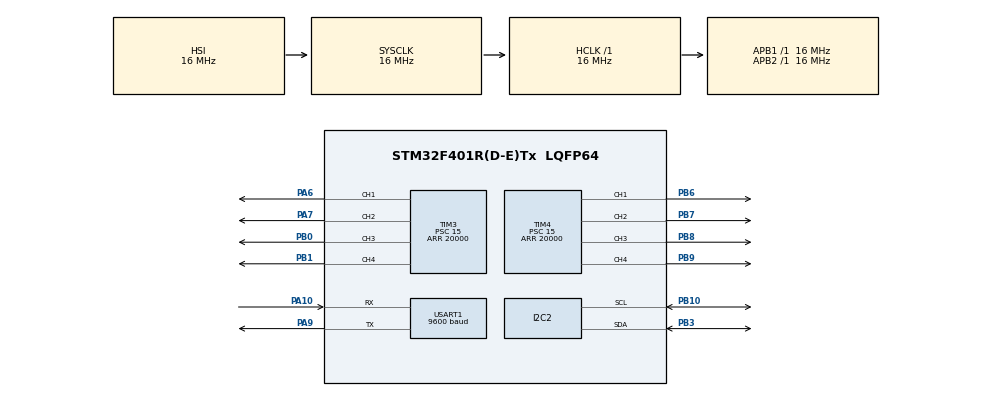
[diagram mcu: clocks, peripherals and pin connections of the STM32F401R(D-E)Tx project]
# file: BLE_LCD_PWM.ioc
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Mcu.Family=STM32F4
Mcu.Name=STM32F401R(D-E)Tx
Mcu.Package=LQFP64
NVIC.I2C2_ER_IRQn=true\:1\:0\:true\:true\:true\:2
NVIC.I2C2_EV_IRQn=true\:1\:0\:true\:true\:true\:1
NVIC.PriorityGroup=NVIC_PRIORITYGROUP_4
NVIC.USART1_IRQn=true\:2\:0\:true\:true\:true\:3
PA10.Mode=Asynchronous
PA10.Signal=USART1_RX
PA6.GPIO_ModeDefaultPP=GPIO_MODE_AF_PP
PA6.GPIO_PuPd=GPIO_PULLDOWN
PA6.Signal=S_TIM3_CH1
PA7.GPIO_ModeDefaultPP=GPIO_MODE_AF_PP
PA7.GPIO_PuPd=GPIO_PULLDOWN
PA7.Signal=S_TIM3_CH2
PA9.Mode=Asynchronous
PA9.Signal=USART1_TX
PB0.GPIO_ModeDefaultPP=GPIO_MODE_AF_PP
PB0.GPIO_PuPd=GPIO_PULLDOWN
PB0.Signal=S_TIM3_CH3
PB1.GPIO_ModeDefaultPP=GPIO_MODE_AF_PP
PB1.GPIO_PuPd=GPIO_PULLDOWN
PB1.GPIO_Speed=GPIO_SPEED_FREQ_LOW
PB1.Signal=S_TIM3_CH4
PB10.Mode=I2C
PB10.Signal=I2C2_SCL
PB3.Mode=I2C
PB3.Signal=I2C2_SDA
PB6.Signal=S_TIM4_CH1
PB7.Signal=S_TIM4_CH2
PB8.Signal=S_TIM4_CH3
PB9.Signal=S_TIM4_CH4
ProjectManager.HeapSize=0x200
ProjectManager.StackSize=0x400
ProjectManager.TargetToolchain=SW4STM32
RCC.AHBFreq_Value=16000000
RCC.APB1Freq_Value=16000000
RCC.APB2Freq_Value=16000000
RCC.CortexFreq_Value=16000000
RCC.HSE_VALUE=25000000
RCC.HSI_VALUE=16000000
RCC.LSE_VALUE=32768
RCC.SYSCLKFreq_VALUE=16000000
RCC.VCOOutputFreq_Value=192000000
SH.S_TIM3_CH1.0=TIM3_CH1,PWM Generation1 CH1
SH.S_TIM3_CH2.0=TIM3_CH2,PWM Generation2 CH2
SH.S_TIM3_CH3.0=TIM3_CH3,PWM Generation3 CH3
SH.S_TIM3_CH4.0=TIM3_CH4,PWM Generation4 CH4
SH.S_TIM4_CH1.0=TIM4_CH1,PWM Generation1 CH1
SH.S_TIM4_CH2.0=TIM4_CH2,PWM Generation2 CH2
SH.S_TIM4_CH3.0=TIM4_CH3,PWM Generation3 CH3
SH.S_TIM4_CH4.0=TIM4_CH4,PWM Generation4 CH4
TIM3.Channel-PWM\ Generation1\ CH1=TIM_CHANNEL_1
TIM3.Channel-PWM\ Generation2\ CH2=TIM_CHANNEL_2
TIM3.Channel-PWM\ Generation3\ CH3=TIM_CHANNEL_3
TIM3.Channel-PWM\ Generation4\ CH4=TIM_CHANNEL_4
TIM3.OCFastMode_PWM-PWM\ Generation4\ CH4=TIM_OCFAST_DISABLE
TIM3.Period=20000
TIM3.Prescaler=15
TIM3.Pulse-PWM\ Generation1\ CH1=0
TIM3.Pulse-PWM\ Generation2\ CH2=0
TIM3.Pulse-PWM\ Generation3\ CH3=0
TIM3.Pulse-PWM\ Generation4\ CH4=0
TIM4.Channel-PWM\ Generation1\ CH1=TIM_CHANNEL_1
TIM4.Channel-PWM\ Generation2\ CH2=TIM_CHANNEL_2
TIM4.Channel-PWM\ Generation3\ CH3=TIM_CHANNEL_3
TIM4.Channel-PWM\ Generation4\ CH4=TIM_CHANNEL_4
TIM4.Period=20000
TIM4.Prescaler=15
USART1.BaudRate=9600
USART1.VirtualMode=VM_ASYNC
VP_TIM3_VS_ClockSourceINT.Mode=Internal
VP_TIM4_VS_ClockSourceINT.Mode=Internal
board=BLE_LCD_PWM

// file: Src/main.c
/**
  ******************************************************************************
  * File Name          : main.c
  * Description        : Main program body
  ******************************************************************************
  ** This notice applies to any and all portions of this file
  * that are not between comment pairs USER CODE BEGIN and
  * USER CODE END. Other portions of this file, whether
  * inserted by the user or by software development tools
  * are owned by their respective copyright owners.
  *
  * COPYRIGHT(c) 2017 STMicroelectronics
  *
  * Redistribution and use in source and binary forms, with or without modification,
  * are permitted provided that the following conditions are met:
  *   1. Redistributions of source code must retain the above copyright notice,
  *      this list of conditions and the following disclaimer.
  *   2. Redistributions in binary form must reproduce the above copyright notice,
  *      this list of conditions and the following disclaimer in the documentation
  *      and/or other materials provided with the distribution.
  *   3. Neither the name of STMicroelectronics nor the names of its contributors
  *      may be used to endorse or promote products derived from this software
  *      without specific prior written permission.
  *
  * THIS SOFTWARE IS PROVIDED BY THE COPYRIGHT HOLDERS AND CONTRIBUTORS "AS IS"
  * AND ANY EXPRESS OR IMPLIED WARRANTIES, INCLUDING, BUT NOT LIMITED TO, THE
  * IMPLIED WARRANTIES OF MERCHANTABILITY AND FITNESS FOR A PARTICULAR PURPOSE ARE
  * DISCLAIMED. IN NO EVENT SHALL THE COPYRIGHT HOLDER OR CONTRIBUTORS BE LIABLE
  * FOR ANY DIRECT, INDIRECT, INCIDENTAL, SPECIAL, EXEMPLARY, OR CONSEQUENTIAL
  * DAMAGES (INCLUDING, BUT NOT LIMITED TO, PROCUREMENT OF SUBSTITUTE GOODS OR
  * SERVICES; LOSS OF USE, DATA, OR PROFITS; OR BUSINESS INTERRUPTION) HOWEVER
  * CAUSED AND ON ANY THEORY OF LIABILITY, WHETHER IN CONTRACT, STRICT LIABILITY,
  * OR TORT (INCLUDING NEGLIGENCE OR OTHERWISE) ARISING IN ANY WAY OUT OF THE USE
  * OF THIS SOFTWARE, EVEN IF ADVISED OF THE POSSIBILITY OF SUCH DAMAGE.
  *
  ******************************************************************************
  */
#include "main.h"
#include "stm32f4xx_hal.h"

/* USER CODE BEGIN Includes */
#include "lcd.h"
/* USER CODE END Includes */

I2C_HandleTypeDef hi2c2;

TIM_HandleTypeDef htim3;
TIM_HandleTypeDef htim4;

UART_HandleTypeDef huart1;

/* USER CODE BEGIN PV */
/* Private variables ---------------------------------------------------------*/

// Used to process commands from BLE Commands via UART

int rx_state = RX_CMD;
int rx_write_index = 0;
int rx_read_index = 0;
int rx_cmd_index = 0;
int rx_length = 0;
int rx_analog_enable = FALSE;
int rx_analog_enable_index = -1;
uint8_t rx_byte;
uint8_t rx_cmd;
uint8_t rx_cmd_buffer[RX_CMD_BUFFER_SIZE];
uint8_t tx_cmd_buffer[TX_CMD_BUFFER_SIZE];
uint8_t rx_buffer[RX_BUFFER_SIZE];

char lcd_line1[LCD_LINE_LENGTH];
char lcd_line2[LCD_LINE_LENGTH];

// Pulse Width for PWM
int analog_out_enabled[8] = {FALSE, FALSE, FALSE, FALSE, FALSE, FALSE, FALSE, FALSE};
uint16_t pulsewidth[8] = {0, 0, 0, 0, 0, 0, 0, 0};
int update_motors = TRUE;

/* USER CODE END PV */

void SystemClock_Config(void);
static void MX_GPIO_Init(void);
static void MX_I2C2_Init(void);
static void MX_USART1_UART_Init(void);
static void MX_TIM3_Init(void);
static void MX_TIM4_Init(void);
static void MX_NVIC_Init(void);

void HAL_TIM_MspPostInit(TIM_HandleTypeDef *htim);

/* USER CODE BEGIN PFP */
/* Private function prototypes -----------------------------------------------*/

void initDevice(void);
int parseCmd(void);
void processCmd(void);
void runCmd(void);
void addToCircularRxBuffer(uint8_t);

/* USER CODE END PFP */

int main(void)
{

  /* USER CODE BEGIN 1 */
	lcd_line1[0] = '\0';
	lcd_line2[0] = '\0';
  /* USER CODE END 1 */

  /* MCU Configuration----------------------------------------------------------*/

  /* Reset of all peripherals, Initializes the Flash interface and the Systick. */
  HAL_Init();

  /* USER CODE BEGIN Init */

  initDevice();

  /* USER CODE END Init */

  /* Configure the system clock */
  SystemClock_Config();

  /* Initialize all configured peripherals */
  MX_GPIO_Init();
  MX_I2C2_Init();
  MX_USART1_UART_Init();
  MX_TIM3_Init();
  MX_TIM4_Init();

  /* Initialize interrupts */
  MX_NVIC_Init();

  /* USER CODE BEGIN 2 */

  // LCD
  initLCD(&hi2c2);
  lcd_clear(&hi2c2);

  // UART
  while(huart1.gState == HAL_UART_STATE_BUSY_RX || huart1.gState == HAL_UART_STATE_BUSY_TX)
	  ;
  HAL_UART_Receive_IT(&huart1, &rx_byte, 1);

  // PWM Timers
  HAL_TIM_Base_Start(&htim3);
  HAL_TIM_Base_Start(&htim4);

  /* USER CODE END 2 */

  /* Infinite loop */
  while (1)
  {

  /* USER CODE BEGIN 3 */
	  while(!parseCmd())
		  ;
	  processCmd();
	  runCmd();

  }
  /* USER CODE END 3 */

}

/** System Clock Configuration
*/
void SystemClock_Config(void)
{

  RCC_OscInitTypeDef RCC_OscInitStruct;
  RCC_ClkInitTypeDef RCC_ClkInitStruct;

    /**Configure the main internal regulator output voltage
    */
  __HAL_RCC_PWR_CLK_ENABLE();

  __HAL_PWR_VOLTAGESCALING_CONFIG(PWR_REGULATOR_VOLTAGE_SCALE2);

    /**Initializes the CPU, AHB and APB busses clocks
    */
  RCC_OscInitStruct.OscillatorType = RCC_OSCILLATORTYPE_HSI;
  RCC_OscInitStruct.HSIState = RCC_HSI_ON;
  RCC_OscInitStruct.HSICalibrationValue = 16;
  RCC_OscInitStruct.PLL.PLLState = RCC_PLL_NONE;
  if (HAL_RCC_OscConfig(&RCC_OscInitStruct) != HAL_OK)
  {
    _Error_Handler(__FILE__, __LINE__);
  }

    /**Initializes the CPU, AHB and APB busses clocks
    */
  RCC_ClkInitStruct.ClockType = RCC_CLOCKTYPE_HCLK|RCC_CLOCKTYPE_SYSCLK
                              |RCC_CLOCKTYPE_PCLK1|RCC_CLOCKTYPE_PCLK2;
  RCC_ClkInitStruct.SYSCLKSource = RCC_SYSCLKSOURCE_HSI;
  RCC_ClkInitStruct.AHBCLKDivider = RCC_SYSCLK_DIV1;
  RCC_ClkInitStruct.APB1CLKDivider = RCC_HCLK_DIV1;
  RCC_ClkInitStruct.APB2CLKDivider = RCC_HCLK_DIV1;

  if (HAL_RCC_ClockConfig(&RCC_ClkInitStruct, FLASH_LATENCY_0) != HAL_OK)
  {
    _Error_Handler(__FILE__, __LINE__);
  }

    /**Configure the Systick interrupt time
    */
  HAL_SYSTICK_Config(HAL_RCC_GetHCLKFreq()/1000);

    /**Configure the Systick
    */
  HAL_SYSTICK_CLKSourceConfig(SYSTICK_CLKSOURCE_HCLK);

  /* SysTick_IRQn interrupt configuration */
  HAL_NVIC_SetPriority(SysTick_IRQn, 0, 0);
}

/** NVIC Configuration
*/
static void MX_NVIC_Init(void)
{
  /* I2C2_EV_IRQn interrupt configuration */
  HAL_NVIC_SetPriority(I2C2_EV_IRQn, 1, 0);
  HAL_NVIC_EnableIRQ(I2C2_EV_IRQn);
  /* I2C2_ER_IRQn interrupt configuration */
  HAL_NVIC_SetPriority(I2C2_ER_IRQn, 1, 0);
  HAL_NVIC_EnableIRQ(I2C2_ER_IRQn);
  /* USART1_IRQn interrupt configuration */
  HAL_NVIC_SetPriority(USART1_IRQn, 2, 0);
  HAL_NVIC_EnableIRQ(USART1_IRQn);
}

/* I2C2 init function */
static void MX_I2C2_Init(void)
{

  hi2c2.Instance = I2C2;
  hi2c2.Init.ClockSpeed = 100000;
  hi2c2.Init.DutyCycle = I2C_DUTYCYCLE_2;
  hi2c2.Init.OwnAddress1 = 0;
  hi2c2.Init.AddressingMode = I2C_ADDRESSINGMODE_7BIT;
  hi2c2.Init.DualAddressMode = I2C_DUALADDRESS_DISABLE;
  hi2c2.Init.OwnAddress2 = 0;
  hi2c2.Init.GeneralCallMode = I2C_GENERALCALL_DISABLE;
  hi2c2.Init.NoStretchMode = I2C_NOSTRETCH_DISABLE;
  if (HAL_I2C_Init(&hi2c2) != HAL_OK)
  {
    _Error_Handler(__FILE__, __LINE__);
  }

}

/* TIM3 init function */
static void MX_TIM3_Init(void)
{

  TIM_ClockConfigTypeDef sClockSourceConfig;
  TIM_MasterConfigTypeDef sMasterConfig;
  TIM_OC_InitTypeDef sConfigOC;

  htim3.Instance = TIM3;
  htim3.Init.Prescaler = 15;
  htim3.Init.CounterMode = TIM_COUNTERMODE_UP;
  htim3.Init.Period = 20000;
  htim3.Init.ClockDivision = TIM_CLOCKDIVISION_DIV1;
  if (HAL_TIM_Base_Init(&htim3) != HAL_OK)
  {
    _Error_Handler(__FILE__, __LINE__);
  }

  sClockSourceConfig.ClockSource = TIM_CLOCKSOURCE_INTERNAL;
  if (HAL_TIM_ConfigClockSource(&htim3, &sClockSourceConfig) != HAL_OK)
  {
    _Error_Handler(__FILE__, __LINE__);
  }

  if (HAL_TIM_PWM_Init(&htim3) != HAL_OK)
  {
    _Error_Handler(__FILE__, __LINE__);
  }

  sMasterConfig.MasterOutputTrigger = TIM_TRGO_RESET;
  sMasterConfig.MasterSlaveMode = TIM_MASTERSLAVEMODE_DISABLE;
  if (HAL_TIMEx_MasterConfigSynchronization(&htim3, &sMasterConfig) != HAL_OK)
  {
    _Error_Handler(__FILE__, __LINE__);
  }

  sConfigOC.OCMode = TIM_OCMODE_PWM1;
  sConfigOC.Pulse = 0;
  sConfigOC.OCPolarity = TIM_OCPOLARITY_HIGH;
  sConfigOC.OCFastMode = TIM_OCFAST_DISABLE;
  if (HAL_TIM_PWM_ConfigChannel(&htim3, &sConfigOC, TIM_CHANNEL_1) != HAL_OK)
  {
    _Error_Handler(__FILE__, __LINE__);
  }

  if (HAL_TIM_PWM_ConfigChannel(&htim3, &sConfigOC, TIM_CHANNEL_2) != HAL_OK)
  {
    _Error_Handler(__FILE__, __LINE__);
  }

  if (HAL_TIM_PWM_ConfigChannel(&htim3, &sConfigOC, TIM_CHANNEL_3) != HAL_OK)
  {
    _Error_Handler(__FILE__, __LINE__);
  }

  if (HAL_TIM_PWM_ConfigChannel(&htim3, &sConfigOC, TIM_CHANNEL_4) != HAL_OK)
  {
    _Error_Handler(__FILE__, __LINE__);
  }

  HAL_TIM_MspPostInit(&htim3);

}

/* TIM4 init function */
static void MX_TIM4_Init(void)
{

  TIM_ClockConfigTypeDef sClockSourceConfig;
  TIM_MasterConfigTypeDef sMasterConfig;
  TIM_OC_InitTypeDef sConfigOC;

  htim4.Instance = TIM4;
  htim4.Init.Prescaler = 15;
  htim4.Init.CounterMode = TIM_COUNTERMODE_UP;
  htim4.Init.Period = 20000;
  htim4.Init.ClockDivision = TIM_CLOCKDIVISION_DIV1;
  if (HAL_TIM_Base_Init(&htim4) != HAL_OK)
  {
    _Error_Handler(__FILE__, __LINE__);
  }

  sClockSourceConfig.ClockSource = TIM_CLOCKSOURCE_INTERNAL;
  if (HAL_TIM_ConfigClockSource(&htim4, &sClockSourceConfig) != HAL_OK)
  {
    _Error_Handler(__FILE__, __LINE__);
  }

  if (HAL_TIM_PWM_Init(&htim4) != HAL_OK)
  {
    _Error_Handler(__FILE__, __LINE__);
  }

  sMasterConfig.MasterOutputTrigger = TIM_TRGO_RESET;
  sMasterConfig.MasterSlaveMode = TIM_MASTERSLAVEMODE_DISABLE;
  if (HAL_TIMEx_MasterConfigSynchronization(&htim4, &sMasterConfig) != HAL_OK)
  {
    _Error_Handler(__FILE__, __LINE__);
  }

  sConfigOC.OCMode = TIM_OCMODE_PWM1;
  sConfigOC.Pulse = 0;
  sConfigOC.OCPolarity = TIM_OCPOLARITY_HIGH;
  sConfigOC.OCFastMode = TIM_OCFAST_DISABLE;
  if (HAL_TIM_PWM_ConfigChannel(&htim4, &sConfigOC, TIM_CHANNEL_1) != HAL_OK)
  {
    _Error_Handler(__FILE__, __LINE__);
  }

  if (HAL_TIM_PWM_ConfigChannel(&htim4, &sConfigOC, TIM_CHANNEL_2) != HAL_OK)
  {
    _Error_Handler(__FILE__, __LINE__);
  }

  if (HAL_TIM_PWM_ConfigChannel(&htim4, &sConfigOC, TIM_CHANNEL_3) != HAL_OK)
  {
    _Error_Handler(__FILE__, __LINE__);
  }

  if (HAL_TIM_PWM_ConfigChannel(&htim4, &sConfigOC, TIM_CHANNEL_4) != HAL_OK)
  {
    _Error_Handler(__FILE__, __LINE__);
  }

  HAL_TIM_MspPostInit(&htim4);

}

/* USART1 init function */
static void MX_USART1_UART_Init(void)
{

  huart1.Instance = USART1;
  huart1.Init.BaudRate = 9600;
  huart1.Init.WordLength = UART_WORDLENGTH_8B;
  huart1.Init.StopBits = UART_STOPBITS_1;
  huart1.Init.Parity = UART_PARITY_NONE;
  huart1.Init.Mode = UART_MODE_TX_RX;
  huart1.Init.HwFlowCtl = UART_HWCONTROL_NONE;
  huart1.Init.OverSampling = UART_OVERSAMPLING_16;
  if (HAL_UART_Init(&huart1) != HAL_OK)
  {
    _Error_Handler(__FILE__, __LINE__);
  }

}

/** Pinout Configuration
*/
static void MX_GPIO_Init(void)
{

  /* GPIO Ports Clock Enable */
  __HAL_RCC_GPIOA_CLK_ENABLE();
  __HAL_RCC_GPIOB_CLK_ENABLE();

}

/* USER CODE BEGIN 4 */

void initDevice() {
  rx_state = RX_CMD;
  rx_write_index = 0;
  rx_read_index = 0;
  rx_cmd_index = 0;
  rx_length = 0;
  rx_analog_enable = FALSE;
  rx_analog_enable_index = -1;
}

void unknownCmd(uint8_t cmd) {
	tx_cmd_buffer[0] = UNKNOWN_CMD;
	tx_cmd_buffer[1] = 1;
	tx_cmd_buffer[2] = cmd;
	while(huart1.gState != HAL_UART_STATE_READY)
		  ;
	HAL_UART_Transmit_IT(&huart1, &tx_cmd_buffer[0], 3);
}

void runCmd() {
	if (rx_cmd == INIT) {
		initDevice();
	}
	else if (rx_cmd == ANALOG_OUT_EN) {
		  if (rx_analog_enable == TRUE) {
			  switch(rx_analog_enable_index) {
			  case 0:
				  HAL_TIM_PWM_Start(&htim3, TIM_CHANNEL_1);
				  break;
			  case 1:
				  HAL_TIM_PWM_Start(&htim3, TIM_CHANNEL_2);
				  break;
			  case 2:
				  HAL_TIM_PWM_Start(&htim3, TIM_CHANNEL_3);
				  break;
			  case 3:
				  HAL_TIM_PWM_Start(&htim3, TIM_CHANNEL_4);
				  break;
			  case 4:
				  HAL_TIM_PWM_Start(&htim4, TIM_CHANNEL_1);
				  break;
			  case 5:
				  HAL_TIM_PWM_Start(&htim4, TIM_CHANNEL_2);
				  break;
			  case 6:
				  HAL_TIM_PWM_Start(&htim4, TIM_CHANNEL_3);
				  break;
			  case 7:
				  HAL_TIM_PWM_Start(&htim4, TIM_CHANNEL_4);
				  break;
			  default:
				  break;
			  }

		  }
		  else {
			  switch(rx_analog_enable_index) {
			  case 0:
				  HAL_TIM_PWM_Stop(&htim3, TIM_CHANNEL_1);
				  break;
			  case 1:
				  HAL_TIM_PWM_Stop(&htim3, TIM_CHANNEL_2);
				  break;
			  case 2:
				  HAL_TIM_PWM_Stop(&htim3, TIM_CHANNEL_3);
				  break;
			  case 3:
				  HAL_TIM_PWM_Stop(&htim3, TIM_CHANNEL_4);
				  break;
			  case 4:
				  HAL_TIM_PWM_Stop(&htim4, TIM_CHANNEL_1);
				  break;
			  case 5:
				  HAL_TIM_PWM_Stop(&htim4, TIM_CHANNEL_2);
				  break;
			  case 6:
				  HAL_TIM_PWM_Stop(&htim4, TIM_CHANNEL_3);
				  break;
			  case 7:
				  HAL_TIM_PWM_Stop(&htim4, TIM_CHANNEL_4);
				  break;
			  default:
				  break;
			  }
		  }
		  analog_out_enabled[rx_analog_enable_index] = rx_analog_enable;
	}
	else if (rx_cmd == SERVO_VAL || rx_cmd == PWM_VAL) {
		  __HAL_TIM_SetCompare(&htim3, TIM_CHANNEL_1, pulsewidth[0]);
		  __HAL_TIM_SetCompare(&htim3, TIM_CHANNEL_2, pulsewidth[1]);
		  __HAL_TIM_SetCompare(&htim3, TIM_CHANNEL_3, pulsewidth[2]);
		  __HAL_TIM_SetCompare(&htim3, TIM_CHANNEL_4, pulsewidth[3]);
		  __HAL_TIM_SetCompare(&htim4, TIM_CHANNEL_1, pulsewidth[4]);
		  __HAL_TIM_SetCompare(&htim4, TIM_CHANNEL_2, pulsewidth[5]);
		  __HAL_TIM_SetCompare(&htim4, TIM_CHANNEL_3, pulsewidth[6]);
		  __HAL_TIM_SetCompare(&htim4, TIM_CHANNEL_4, pulsewidth[7]);
	}
	else if (rx_cmd == LCD_TEXT) {
		  lcd_display_string(&hi2c2, &lcd_line1[0], 1);
		  lcd_display_string(&hi2c2, &lcd_line2[0], 2);
	}
	else if (rx_cmd == LCD_CLEAR) {
		  lcd_line1[0] = '\0';
		  lcd_line2[0] = '\0';
		  lcd_clear(&hi2c2);
	}
}

void processCmd() {
	if (rx_cmd == ANALOG_OUT_EN) {
		uint8_t index = rx_cmd_buffer[0];
		uint8_t value = rx_cmd_buffer[1];
		rx_analog_enable_index = (int)index;
		rx_analog_enable = (int)value;
	}
	else if (rx_cmd == SERVO_VAL) {
		uint8_t index = rx_cmd_buffer[0];
		uint8_t valueHigh = rx_cmd_buffer[1];
		uint8_t valueLow = rx_cmd_buffer[2];
		uint16_t value = ((((uint16_t)valueHigh) << 8) & 0xFF00) | (((uint16_t)valueLow) & 0xFF);
		pulsewidth[index] = 1000+value; // Servo or brushless motor PWM
	}
	else if (rx_cmd == PWM_VAL) {
		uint8_t index = rx_cmd_buffer[0];
		uint8_t valueHigh = rx_cmd_buffer[1];
		uint8_t valueLow = rx_cmd_buffer[2];
		uint16_t value = ((((uint16_t)valueHigh) << 8) & 0xFF00) | (((uint16_t)valueLow) & 0xFF);
		pulsewidth[index] = 20*value; // Normal led fade/dc motor PWM (virtual analogue) signal
	}
	else if (rx_cmd == LCD_TEXT) {
		uint8_t line = (rx_cmd_buffer[0]+1);
		char* str = (char*)(&rx_cmd_buffer[1]);
		char* dest = &lcd_line1[0];
		if (line == 2) {
			dest = &lcd_line2[0];
		}
		while(*str != '\0')
			*dest++ = *str++;
		*dest++ = '\0';
	}
	if (rx_cmd > 5) {
		unknownCmd(rx_cmd);
	}
}

int parseCmd() {
	if (rx_read_index == rx_write_index) {
		// underflow - (no data to read)
		return FALSE;
	}
	uint8_t byte = rx_buffer[rx_read_index++];
	if (rx_read_index == RX_BUFFER_SIZE) {
		rx_read_index = 0;
	}
	switch(rx_state) {
	case RX_CMD:
		rx_cmd = byte;
		rx_state++;
		break;
	case RX_CMD_LENGTH:
		rx_length = byte;
		rx_state++;
		if (rx_length == 0) {
			rx_state = RX_CMD;
			return TRUE;
		}
		break;
	case RX_CMD_DATA:
		rx_cmd_buffer[rx_cmd_index++] = byte;
		// Place a zero after in case its a string that needs null terminating
		rx_cmd_buffer[rx_cmd_index] = 0x00;
		rx_length--;
		if (rx_length == 0) {
			rx_length = 0;
			rx_cmd_index = 0;
			rx_state = RX_CMD;
			return TRUE;
		}
		break;
	default:
		break;
	}
	return FALSE;
}

void rxBufferOverflow(uint8_t rx_byte) {
	HAL_NVIC_DisableIRQ(USART1_IRQn);
	while(rx_write_index == rx_read_index)
		HAL_Delay(1);
	addToCircularRxBuffer(rx_byte);
	HAL_NVIC_EnableIRQ(USART1_IRQn);
}

void addToCircularRxBuffer(uint8_t rx_byte) {
	rx_buffer[rx_write_index++] = rx_byte;
	if (rx_write_index == RX_BUFFER_SIZE) {
		rx_write_index = 0;
	}
	if (rx_write_index == rx_read_index) {
		rxBufferOverflow(rx_byte);
	}
}

void HAL_UART_RxCpltCallback(UART_HandleTypeDef *huart)
{
	if (huart->Instance == USART1)
	{
		//HAL_UART_Transmit(huart, &rx_byte, 1, 0xFFF);
		addToCircularRxBuffer(rx_byte);
		HAL_UART_Receive_IT(huart, &rx_byte, 1);
	}
}

/* USER CODE END 4 */

void _Error_Handler(char * file, int line)
{
  while(1)
  {
  }
}

/************************ (C) COPYRIGHT STMicroelectronics *****END OF FILE****/
